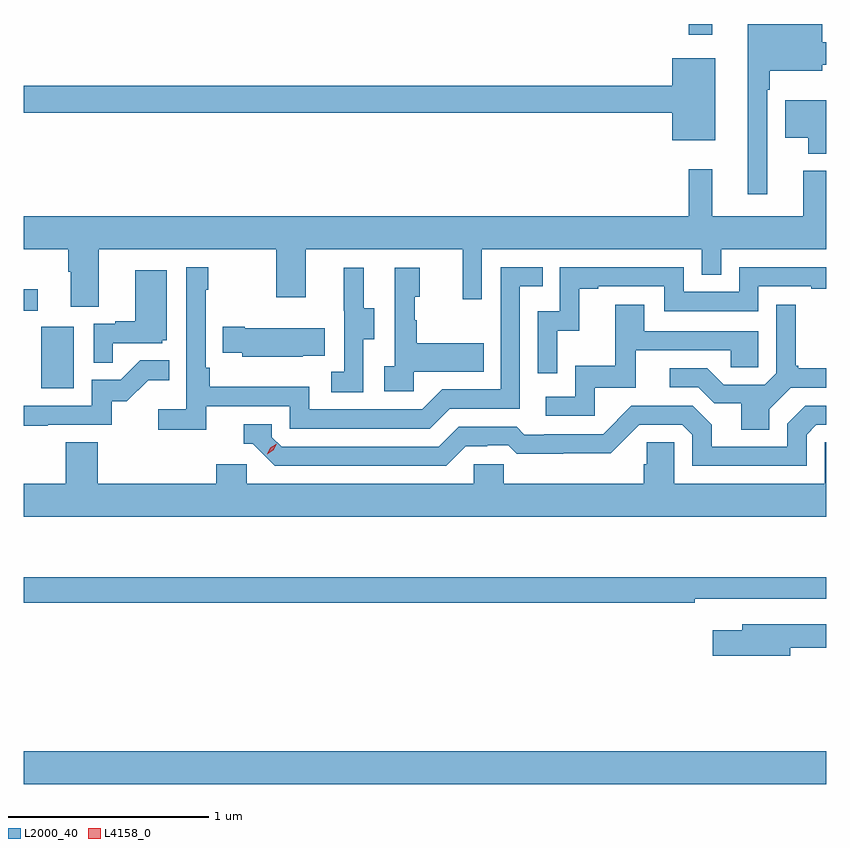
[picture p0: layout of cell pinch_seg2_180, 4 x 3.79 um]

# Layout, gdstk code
import gdstk
lib = gdstk.Library(unit=1e-6, precision=1e-09)
def R(c, l, rs):  # rectangles x0, y0, x1, y1
    for r in rs: c.add(gdstk.rectangle(r[:2], r[2:], *l))
def P(c, l, *ps):  # polygons
    for p in ps: c.add(gdstk.Polygon(p, *l))
L2000_40 = (2000, 40)
L4158_0 = (4158, 0)

pinch_seg2_180 = lib.new_cell('pinch_seg2_180')
R(pinch_seg2_180, L2000_40, [(1100.519,643.64,1104.519,643.804), (1100.606,645.612,1100.77,645.919), (1100.519,645.999,1100.59,646.105), (1103.833,647.373,1103.95,647.427)])
P(pinch_seg2_180, L2000_40, [(1104.225,647.099),(1104.238,647.099),(1104.238,647.195),(1104.499,647.195),(1104.499,647.225),(1104.519,647.225),(1104.519,647.335),(1104.498,647.335),(1104.498,647.427),(1104.128,647.427),(1104.128,646.578),(1104.225,646.578)],
  [(1103.965,647.257),(1103.75,647.257),(1103.75,647.12),(1100.519,647.12),(1100.519,646.984),(1103.75,646.984),(1103.75,646.847),(1103.965,646.847)],
  [(1104.519,647.047),(1104.314,647.047),(1104.314,646.859),(1104.428,646.859),(1104.428,646.781),(1104.519,646.781)],
  [(1100.893,646.304),(1101.778,646.304),(1101.778,646.065),(1101.925,646.065),(1101.925,646.304),(1102.706,646.304),(1102.706,646.056),(1102.803,646.056),(1102.803,646.304),(1103.898,646.304),(1103.898,646.177),(1103.994,646.177),(1103.994,646.304),(1104.519,646.304),(1104.519,646.696),(1104.404,646.696),(1104.404,646.468),(1103.951,646.468),(1103.951,646.702),(1103.833,646.702),(1103.833,646.468),(1100.519,646.468),(1100.519,646.304),(1100.741,646.304),(1100.741,646.192),(1100.753,646.192),(1100.753,646.018),(1100.893,646.018)],
  [(1101.428,645.522),(1101.846,645.522),(1101.846,645.411),(1102.543,645.411),(1102.642,645.51),(1102.992,645.51),(1102.992,646.119),(1103.105,646.119),(1103.105,646.215),(1102.896,646.215),(1102.896,645.606),(1102.605,645.606),(1102.506,645.507),(1101.942,645.507),(1101.942,645.619),(1101.446,645.619),(1101.446,645.715),(1101.426,645.715),(1101.426,646.103),(1101.439,646.103),(1101.439,646.216),(1101.33,646.216),(1101.33,645.508),(1101.189,645.508),(1101.189,645.406),(1101.428,645.406)],
  [(1103.178,645.899),(1103.288,645.899),(1103.288,646.107),(1103.383,646.107),(1103.383,646.119),(1103.712,646.119),(1103.712,645.996),(1104.18,645.996),(1104.18,646.119),(1104.443,646.119),(1104.443,646.107),(1104.519,646.107),(1104.519,646.215),(1104.084,646.215),(1104.084,646.092),(1103.808,646.092),(1103.808,646.215),(1103.19,646.215),(1103.19,645.996),(1103.082,645.996),(1103.082,645.687),(1103.178,645.687)],
  [(1102.212,645.856),(1102.267,645.856),(1102.267,646.011),(1102.213,646.011),(1102.213,646.213),(1102.115,646.213),(1102.115,645.999),(1102.116,645.999),(1102.116,645.695),(1102.053,645.695),(1102.053,645.592),(1102.212,645.592)],
  [(1102.464,645.695),(1102.811,645.695),(1102.811,645.835),(1102.477,645.835),(1102.477,645.95),(1102.467,645.95),(1102.467,646.068),(1102.492,646.068),(1102.492,646.213),(1102.368,646.213),(1102.368,645.722),(1102.317,645.722),(1102.317,645.597),(1102.464,645.597)],
  [(1100.963,645.837),(1101.21,645.837),(1101.21,645.852),(1101.232,645.852),(1101.232,646.201),(1101.074,646.201),(1101.074,645.946),(1100.975,645.946),(1100.975,645.933),(1100.868,645.933),(1100.868,645.739),(1100.963,645.739)],
  [(1104.235,645.508),(1104.342,645.615),(1104.519,645.615),(1104.519,645.712),(1104.379,645.712),(1104.379,645.724),(1104.367,645.724),(1104.367,646.027),(1104.27,646.027),(1104.27,645.687),(1104.213,645.63),(1104.007,645.63),(1103.926,645.711),(1103.739,645.711),(1103.739,645.618),(1103.88,645.618),(1103.96,645.538),(1104.095,645.538),(1104.095,645.406),(1104.235,645.406)],
  [(1103.364,645.615),(1103.569,645.615),(1103.569,645.801),(1104.043,645.801),(1104.043,645.717),(1104.18,645.717),(1104.18,645.897),(1103.611,645.897),(1103.611,646.027),(1103.467,646.027),(1103.467,645.724),(1103.268,645.724),(1103.268,645.57),(1103.121,645.57),(1103.121,645.474),(1103.364,645.474)],
  [(1101.911,645.773),(1102.019,645.773),(1102.019,645.91),(1101.622,645.91),(1101.622,645.918),(1101.511,645.918),(1101.511,645.788),(1101.609,645.788),(1101.609,645.77),(1101.911,645.77)],
  [(1100.639,645.429),(1100.958,645.429),(1100.958,645.546),(1101.034,645.546),(1101.141,645.653),(1101.245,645.653),(1101.245,645.752),(1101.101,645.752),(1101.003,645.654),(1100.859,645.654),(1100.859,645.525),(1100.519,645.525),(1100.519,645.424),(1100.639,645.424)],
  [(1102.723,645.324),(1102.83,645.324),(1102.83,645.327),(1102.933,645.327),(1102.975,645.285),(1103.208,645.285),(1103.208,645.287),(1103.444,645.287),(1103.586,645.429),(1103.802,645.429),(1103.85,645.381),(1103.85,645.225),(1104.42,645.225),(1104.42,645.381),(1104.468,645.429),(1104.519,645.429),(1104.519,645.525),(1104.414,645.525),(1104.324,645.435),(1104.324,645.321),(1103.947,645.321),(1103.947,645.431),(1103.853,645.525),(1103.547,645.525),(1103.406,645.384),(1103.113,645.384),(1103.113,645.381),(1103.014,645.381),(1102.975,645.42),(1102.686,645.42),(1102.587,645.321),(1101.804,645.321),(1101.756,645.369),(1101.756,645.432),(1101.617,645.432),(1101.617,645.336),(1101.66,645.336),(1101.771,645.225),(1102.624,645.225)],
  [(1100.728,645.344),(1100.728,645.136),(1100.519,645.136),(1100.519,644.972),(1104.519,644.972),(1104.519,645.344),(1104.51,645.344),(1104.51,645.136),(1103.76,645.136),(1103.76,645.344),(1103.623,645.344),(1103.623,645.234),(1103.609,645.234),(1103.609,645.136),(1102.911,645.136),(1102.911,645.234),(1102.761,645.234),(1102.761,645.136),(1101.63,645.136),(1101.63,645.234),(1101.479,645.234),(1101.479,645.136),(1100.888,645.136),(1100.888,645.344)],
  [(1103.864,644.562),(1104.519,644.562),(1104.519,644.671),(1100.519,644.671),(1100.519,644.542),(1103.864,644.542)],
  [(1104.34,644.32),(1104.519,644.32),(1104.519,644.436),(1104.101,644.436),(1104.101,644.407),(1103.952,644.407),(1103.952,644.278),(1104.34,644.278)])
P(pinch_seg2_180, L4158_0, [(1101.732,645.283),(1101.732,645.283),(1101.749,645.316),(1101.78,645.335),(1101.78,645.335),(1101.78,645.335),(1101.764,645.302),(1101.733,645.283)])

lib.write_gds('pinch_seg2_180.gds')
